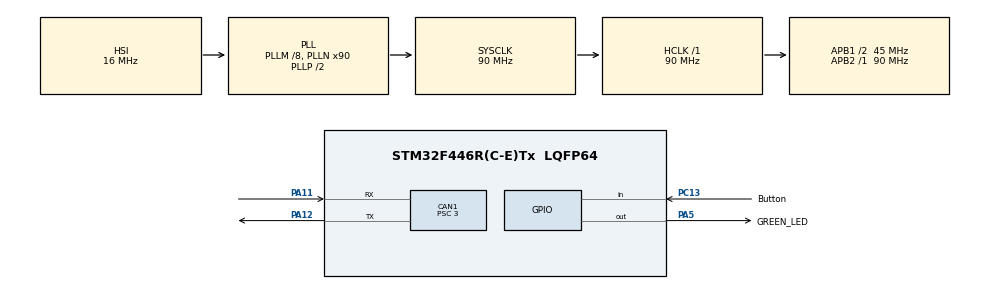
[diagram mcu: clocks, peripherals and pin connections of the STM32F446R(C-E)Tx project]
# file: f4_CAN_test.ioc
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CAN1.BS1=CAN_BS1_12TQ
CAN1.BS2=CAN_BS2_2TQ
CAN1.CalculateBaudRate=1000000
CAN1.CalculateTimeBit=999.99
CAN1.CalculateTimeQuantum=66.66666666666666
CAN1.Mode=CAN_MODE_NORMAL
CAN1.Prescaler=3
Mcu.Family=STM32F4
Mcu.Name=STM32F446R(C-E)Tx
Mcu.Package=LQFP64
NVIC.CAN1_RX0_IRQn=true\:0\:0\:false\:false\:true\:true\:true
NVIC.PriorityGroup=NVIC_PRIORITYGROUP_4
PA11.Mode=CAN_Activate
PA11.Signal=CAN1_RX
PA12.Mode=CAN_Activate
PA12.Signal=CAN1_TX
PA5.GPIO_Label=GREEN_LED
PA5.Signal=GPIO_Output
PC13.GPIO_Label=Button
PC13.Signal=GPIO_Input
PH0-OSC_IN.Mode=HSE-External-Oscillator
PH0-OSC_IN.Signal=RCC_OSC_IN
PH1-OSC_OUT.Mode=HSE-External-Oscillator
PH1-OSC_OUT.Signal=RCC_OSC_OUT
ProjectManager.HeapSize=0x200
ProjectManager.StackSize=0x400
ProjectManager.TargetToolchain=MDK-ARM V5.27
RCC.AHBFreq_Value=90000000
RCC.APB1CLKDivider=RCC_HCLK_DIV2
RCC.APB1Freq_Value=45000000
RCC.APB1TimFreq_Value=90000000
RCC.APB2Freq_Value=90000000
RCC.APB2TimFreq_Value=90000000
RCC.CortexFreq_Value=90000000
RCC.HCLKFreq_Value=90000000
RCC.HSE_VALUE=8000000
RCC.PLLM=8
RCC.PLLN=90
RCC.SYSCLKFreq_VALUE=90000000
RCC.SYSCLKSource=RCC_SYSCLKSOURCE_PLLCLK
RCC.USBFreq_Value=90000000
RCC.VCOOutputFreq_Value=180000000
board=custom

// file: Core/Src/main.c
/* USER CODE BEGIN Header */
/**
  ******************************************************************************
  * @file           : main.c
  * @brief          : Main program body
  ******************************************************************************
  * @attention
  *
  * <h2><center>&copy; Copyright (c) 2021 STMicroelectronics.
  * All rights reserved.</center></h2>
  *
  * This software component is licensed by ST under BSD 3-Clause license,
  * the "License"; You may not use this file except in compliance with the
  * License. You may obtain a copy of the License at:
  *                        opensource.org/licenses/BSD-3-Clause
  *
  ******************************************************************************
  */
/* USER CODE END Header */
#include "main.h"

/* USER CODE BEGIN PTD */
static FLASH_EraseInitTypeDef Erase_struct;
static FLASH_EraseInitTypeDef  Erase_struct_flag;
CAN_TxHeaderTypeDef TxHeader;
CAN_RxHeaderTypeDef RxHeader;
/* USER CODE END PTD */

/* USER CODE BEGIN PD */
#define APP_START_ADDRESS  0x08020000  //ADDR of main programm memory to jump
/* USER CODE END PD */

CAN_HandleTypeDef hcan1;

/* USER CODE BEGIN PV */
uint8_t count = 0;
uint8_t buf_tx[8] = {'R','E','A','D','Y','F','F','F'};
uint8_t buf_rx[8];
uint8_t RXmsgData[8];
uint32_t mailBoxNum_1 = CAN_TX_MAILBOX0;
uint32_t program_data_1 = 0;
uint32_t program_data_2 = 0;
uint32_t flag_addr = 0x0807FFFC;
uint32_t flag_data = 0x12345678;
uint32_t erase_error = 0; //flag for recording the error (0xFFFFFFFFU means that all the sectors have been correctly erased)
uint32_t erase_error_flag = 0; //flag for recording the error (0xFFFFFFFFU means that all the sectors have been correctly erased)
uint32_t FLAG_DOWNLOAD_OVER = 0;
uint32_t FLAG_ERASE_OVER = 0;
uint64_t address_data = 0x08020000;
/* USER CODE END PV */

void SystemClock_Config(void);
static void MX_GPIO_Init(void);
static void MX_CAN1_Init(void);

/* USER CODE BEGIN 0 */
void Ascii_To_Hex( uint8_t* buff, uint8_t count)
{
	uint8_t i;

	for(i=0; i<count;i++)
	{
		if(buff[i] <= '9' && buff[i] >= '0' )
		{
			buff[i] -= 0x30;
		}
		else
		{
			buff[i] = buff[i] - 0x41 + 10;
		}
	}
}
void GoTo() //jump to the memory area specified in #define APP_START_ADDRESS
{
	//sprintf(buf_tx, "12345678\r\n");
	uint32_t appJumpAdress;

	appJumpAdress = *((volatile uint32_t*)(APP_START_ADDRESS+4));

	HAL_RCC_DeInit();
	//HAL_CAN_DeInit(&hcan1);
	HAL_DeInit();

	void(*GoToApp)(void);
	GoToApp = (void (*)(void)) appJumpAdress;

	//__disable_irq();
	__set_MSP(*((volatile uint32_t*)APP_START_ADDRESS));
	GoToApp();
}
/* USER CODE END 0 */

int main(void)
{
  /* USER CODE BEGIN 1 */
		HAL_FLASH_Unlock(); // unlock FLASH REMEMBER LOCK FLASH AFTER FINISHING DOWNLOAD!!!!!!!!!!!!!!!!!!!!!!!!!!!!!!!!!
		if (*(__IO  uint32_t*)flag_addr == flag_data)	{ //считали данные из последней ячейки памяти, если флаг выставлкн, то
			Erase_struct.TypeErase = FLASH_TYPEERASE_SECTORS; //type of erasable memory - sectors
			Erase_struct.Sector = FLASH_SECTOR_5; //sector number to start erasing
			Erase_struct.NbSectors = 2; //number of erased sectars starting from
			HAL_FLASHEx_Erase(&Erase_struct, &erase_error); //erase memory
			Erase_struct_flag.TypeErase = FLASH_TYPEERASE_SECTORS; //type of erasable memory - sectors
			Erase_struct_flag.Sector = FLASH_SECTOR_7; //sector number to start erasing
			Erase_struct_flag.NbSectors = 1; //number of erased sectars starting from
			HAL_FLASHEx_Erase(&Erase_struct_flag, &erase_error_flag); //erase memory
			FLAG_ERASE_OVER = 1; //выставляем флаг окончания чиски секторов памяти
		}
		else { // если последяя ячейка памяти пустая, то
			HAL_FLASH_Lock(); //memory write lock
			GoTo(); //прыгаем в основную программу
		}
  /* USER CODE END 1 */

  /* MCU Configuration--------------------------------------------------------*/

  /* Reset of all peripherals, Initializes the Flash interface and the Systick. */
  HAL_Init();

  /* Configure the system clock */
  SystemClock_Config();

  /* Initialize all configured peripherals */
  MX_GPIO_Init();
  MX_CAN1_Init();
  /* USER CODE BEGIN 2 */
  HAL_CAN_Start(&hcan1);
  HAL_CAN_ActivateNotification(&hcan1, CAN_IT_RX_FIFO0_MSG_PENDING);

	TxHeader.StdId = 0x7f0;
  TxHeader.DLC = 8;
	TxHeader.TransmitGlobalTime = DISABLE;
  TxHeader.RTR = CAN_RTR_DATA;
  TxHeader.IDE = CAN_ID_STD;
  /* USER CODE END 2 */

  /* Infinite loop */
  while (1)
  {

    /* USER CODE BEGIN 3 */
		//HAL_GPIO_TogglePin(GREEN_LED_GPIO_Port, GREEN_LED_Pin);
		if (FLAG_DOWNLOAD_OVER == 1) { //если отправка прошивки по кану завершена, то
			HAL_FLASH_Lock(); //memory write lock
			//HAL_GPIO_TogglePin(GREEN_LED_GPIO_Port, GREEN_LED_Pin);
			//HAL_Delay(500);
			NVIC_SystemReset(); //перезагрузка
		}
		if (FLAG_ERASE_OVER == 1) { //если чиска секторов памяти завершена, то
			HAL_CAN_AddTxMessage(&hcan1, &TxHeader, buf_tx, &mailBoxNum_1); //отправляем сообщение utc о готовности
			FLAG_ERASE_OVER = 0; //сбоасываем флаг чистки секторов, чтоб не отправиять сообщение о готовности приема прошивки брлее одного раза
			//HAL_GPIO_TogglePin(GREEN_LED_GPIO_Port, GREEN_LED_Pin);
			//HAL_Delay(500);
		}
		//HAL_Delay(500);
  }
  /* USER CODE END 3 */
}

void SystemClock_Config(void)
{
  RCC_OscInitTypeDef RCC_OscInitStruct = {0};
  RCC_ClkInitTypeDef RCC_ClkInitStruct = {0};

  /** Configure the main internal regulator output voltage
  */
  __HAL_RCC_PWR_CLK_ENABLE();
  __HAL_PWR_VOLTAGESCALING_CONFIG(PWR_REGULATOR_VOLTAGE_SCALE3);
  /** Initializes the RCC Oscillators according to the specified parameters
  * in the RCC_OscInitTypeDef structure.
  */
  RCC_OscInitStruct.OscillatorType = RCC_OSCILLATORTYPE_HSI;
  RCC_OscInitStruct.HSIState = RCC_HSI_ON;
  RCC_OscInitStruct.HSICalibrationValue = RCC_HSICALIBRATION_DEFAULT;
  RCC_OscInitStruct.PLL.PLLState = RCC_PLL_ON;
  RCC_OscInitStruct.PLL.PLLSource = RCC_PLLSOURCE_HSI;
  RCC_OscInitStruct.PLL.PLLM = 8;
  RCC_OscInitStruct.PLL.PLLN = 90;
  RCC_OscInitStruct.PLL.PLLP = RCC_PLLP_DIV2;
  RCC_OscInitStruct.PLL.PLLQ = 2;
  RCC_OscInitStruct.PLL.PLLR = 2;
  if (HAL_RCC_OscConfig(&RCC_OscInitStruct) != HAL_OK)
  {
    Error_Handler();
  }
  /** Initializes the CPU, AHB and APB buses clocks
  */
  RCC_ClkInitStruct.ClockType = RCC_CLOCKTYPE_HCLK|RCC_CLOCKTYPE_SYSCLK
                              |RCC_CLOCKTYPE_PCLK1|RCC_CLOCKTYPE_PCLK2;
  RCC_ClkInitStruct.SYSCLKSource = RCC_SYSCLKSOURCE_PLLCLK;
  RCC_ClkInitStruct.AHBCLKDivider = RCC_SYSCLK_DIV1;
  RCC_ClkInitStruct.APB1CLKDivider = RCC_HCLK_DIV2;
  RCC_ClkInitStruct.APB2CLKDivider = RCC_HCLK_DIV1;

  if (HAL_RCC_ClockConfig(&RCC_ClkInitStruct, FLASH_LATENCY_2) != HAL_OK)
  {
    Error_Handler();
  }
}

static void MX_CAN1_Init(void)
{

  hcan1.Instance = CAN1;
  hcan1.Init.Prescaler = 3;
  hcan1.Init.Mode = CAN_MODE_NORMAL;
  hcan1.Init.SyncJumpWidth = CAN_SJW_1TQ;
  hcan1.Init.TimeSeg1 = CAN_BS1_12TQ;
  hcan1.Init.TimeSeg2 = CAN_BS2_2TQ;
  hcan1.Init.TimeTriggeredMode = DISABLE;
  hcan1.Init.AutoBusOff = DISABLE;
  hcan1.Init.AutoWakeUp = DISABLE;
  hcan1.Init.AutoRetransmission = DISABLE;
  hcan1.Init.ReceiveFifoLocked = DISABLE;
  hcan1.Init.TransmitFifoPriority = DISABLE;
  if (HAL_CAN_Init(&hcan1) != HAL_OK)
  {
    Error_Handler();
  }
  /* USER CODE BEGIN CAN1_Init 2 */
	CAN_FilterTypeDef canFilterConfig;
  canFilterConfig.FilterBank = 0;
  canFilterConfig.FilterMode = CAN_FILTERMODE_IDLIST;
  canFilterConfig.FilterScale = CAN_FILTERSCALE_32BIT;
  canFilterConfig.FilterIdHigh = 0x07F5<<5;
  canFilterConfig.FilterIdLow = 0x0000;
  canFilterConfig.FilterMaskIdHigh = 0x0000;
  canFilterConfig.FilterMaskIdLow = 0x0000;
  canFilterConfig.FilterFIFOAssignment = CAN_RX_FIFO0;
  canFilterConfig.FilterActivation = ENABLE;
  canFilterConfig.SlaveStartFilterBank = 14;
  HAL_CAN_ConfigFilter(&hcan1, &canFilterConfig);
  /* USER CODE END CAN1_Init 2 */

}

static void MX_GPIO_Init(void)
{
  GPIO_InitTypeDef GPIO_InitStruct = {0};

  /* GPIO Ports Clock Enable */
  __HAL_RCC_GPIOC_CLK_ENABLE();
  __HAL_RCC_GPIOH_CLK_ENABLE();
  __HAL_RCC_GPIOA_CLK_ENABLE();

  /*Configure GPIO pin Output Level */
  HAL_GPIO_WritePin(GREEN_LED_GPIO_Port, GREEN_LED_Pin, GPIO_PIN_RESET);

  /*Configure GPIO pin : Button_Pin */
  GPIO_InitStruct.Pin = Button_Pin;
  GPIO_InitStruct.Mode = GPIO_MODE_INPUT;
  GPIO_InitStruct.Pull = GPIO_NOPULL;
  HAL_GPIO_Init(Button_GPIO_Port, &GPIO_InitStruct);

  /*Configure GPIO pin : GREEN_LED_Pin */
  GPIO_InitStruct.Pin = GREEN_LED_Pin;
  GPIO_InitStruct.Mode = GPIO_MODE_OUTPUT_PP;
  GPIO_InitStruct.Pull = GPIO_NOPULL;
  GPIO_InitStruct.Speed = GPIO_SPEED_FREQ_LOW;
  HAL_GPIO_Init(GREEN_LED_GPIO_Port, &GPIO_InitStruct);

}

/* USER CODE BEGIN 4 */
void HAL_CAN_RxFifo0MsgPendingCallback(CAN_HandleTypeDef *hcan)
{

  HAL_CAN_GetRxMessage(hcan, CAN_RX_FIFO0, &RxHeader, RXmsgData);
	if (buf_rx[0] == 'S' && buf_rx[1] == 'T' && buf_rx[2] == 'A' && buf_rx[3] == 'R' && buf_rx[4] == 'T') { // //checking starting of the firmware transfer

	//NVIC_SystemReset();

	}
	else { //пропускаем все слова, кроме Start

		if (RXmsgData[0] == 'E' && RXmsgData[1] == 'N' && RXmsgData[2] == 'D') { //utc прислало end, то
			HAL_FLASH_Lock(); //блокируем память
			FLAG_DOWNLOAD_OVER = 1; //выставляем флаг окончания загрузки в 1
		}

		program_data_1 = (RXmsgData[0] << 24) + (RXmsgData[1] << 16) + (RXmsgData[2] << 8) + RXmsgData[3]; //формируем первое слово
		program_data_2 = (RXmsgData[4] << 24) + (RXmsgData[5] << 16) + (RXmsgData[6] << 8) + RXmsgData[7]; //формируем второе слово
		HAL_FLASH_Program(FLASH_TYPEPROGRAM_WORD, address_data, program_data_1); //записываем в память основной программы первое сформированное сьово
		address_data = address_data + 4; // увеличиваем алрес ячейки памяти для записи основной программы на 4, то есть в следующий раз будем писать уже в следующую ячейку
		program_data_1 = 0; //чистим первое слово
		HAL_FLASH_Program(FLASH_TYPEPROGRAM_WORD, address_data, program_data_2); //пишем второе слово
		address_data = address_data + 4;
		program_data_2 = 0;
		HAL_CAN_AddTxMessage(&hcan1, &TxHeader, buf_rx, &mailBoxNum_1); //отправляем сообщение в utc о готовности принять следующие 2 слова
	}
}
/* USER CODE END 4 */

void Error_Handler(void)
{
  __disable_irq();
  while (1)
  {
  }
}

/************************ (C) COPYRIGHT STMicroelectronics *****END OF FILE****/
